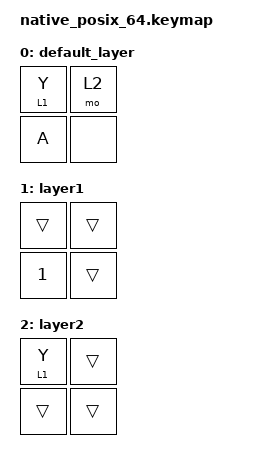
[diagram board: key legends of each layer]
/*
 * Y/H/P の menu_lt (config/KobitoKey.keymap の scroll_menu_layer_tap)。
 *
 * この位置は「高番レイヤー滞在中にタップしても文字が出ない」不具合を
 * 過去 2 回起こしている (e1577a6, b6209b8)。原因はどちらも素の `&mo N` を
 * 置いていたこと。`&mo` はタップしても何も出力しないので、トラックボール
 * 由来の一時レイヤー滞在中はこの位置が無反応になっていた。
 * menu_lt (tap-preferred) 化がその対策で、シナリオ C がそれを固定する。
 *
 * 注意: 実機の Layer 4/13 はトラックボール入力で発動するが、mock kscan
 * からは駆動できない。ここでは `&mo` で「同じレイヤーが乗った状態」を作って
 * 代用している。近似なので、zip_temp_layer の excluded-positions や滞留
 * タイマーの挙動までは再現できない (features/trackball-menu-keys.md 参照)。
 *
 * キー位置 (2x2 mock kscan, position = row*2 + col):
 *   0 = menu_lt 1 Y      1 = mo 2 (オートマウスレイヤー相当への入口)
 *   2 = A / Layer 1 で N1
 *   3 = (未使用)
 */

#include <dt-bindings/zmk/keys.h>
#include <behaviors.dtsi>
#include <dt-bindings/zmk/kscan_mock.h>

/ {
    behaviors {
        /* config/KobitoKey.keymap の menu_lt と同一に保つこと
         * (doctor.sh が検査する) */
        menu_lt: scroll_menu_layer_tap {
            compatible = "zmk,behavior-hold-tap";
            #binding-cells = <2>;
            flavor = "tap-preferred";
            tapping-term-ms = <180>;
            bindings = <&mo>, <&kp>;
        };
    };

    keymap {
        compatible = "zmk,keymap";

        default_layer {
            bindings = <
                &menu_lt 1 Y  &mo 2
                &kp A         &none>;
        };

        /* GESTURE (実機 Layer 5) 相当。N1 が出れば入れたと分かる */
        layer1 {
            bindings = <
                &trans   &trans
                &kp N1   &trans>;
        };

        /* MOUSE (実機 Layer 4) 相当。実機と同じく同じ位置に menu_lt を置く。
         * ここを &mo 1 にすると過去の不具合が再現する */
        layer2 {
            bindings = <
                &menu_lt 1 Y  &trans
                &trans        &trans>;
        };
    };
};

&kscan {
    events = <
        /* A: 素の状態でタップ -> Y */
        ZMK_MOCK_PRESS(0,0,10)
        ZMK_MOCK_RELEASE(0,0,400)

        /* B: 素の状態で長押し -> Layer 1 に入り N1。Y は出ない */
        ZMK_MOCK_PRESS(0,0,400)
        ZMK_MOCK_PRESS(1,0,10)
        ZMK_MOCK_RELEASE(1,0,10)
        ZMK_MOCK_RELEASE(0,0,400)

        /* C: Layer 2 滞在中にタップ -> Y が出る (回帰の本命)。
         *    ここで Y が消えたら menu_lt が &mo に戻された疑い */
        ZMK_MOCK_PRESS(0,1,10)
        ZMK_MOCK_PRESS(0,0,10)
        ZMK_MOCK_RELEASE(0,0,10)
        ZMK_MOCK_RELEASE(0,1,400)

        /* D: Layer 2 滞在中に長押し -> Layer 1 に入れる (機能は死んでいない) */
        ZMK_MOCK_PRESS(0,1,10)
        ZMK_MOCK_PRESS(0,0,400)
        ZMK_MOCK_PRESS(1,0,10)
        ZMK_MOCK_RELEASE(1,0,10)
        ZMK_MOCK_RELEASE(0,0,10)
        ZMK_MOCK_RELEASE(0,1,10)
    >;
};
